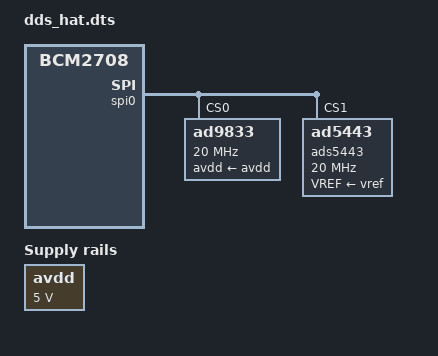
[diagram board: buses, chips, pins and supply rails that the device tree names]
/dts-v1/;
/plugin/;

/ {
	compatible = "brcm,bcm2708";

	fragment@0 {
        target = <&spidev0>;

        __overlay__ {
            status = "disabled";
        };
    };

	fragment@1 {
        target = <&spidev1>;

        __overlay__ {
            status = "disabled";
        };
    };

    fragment@2 {
	target = <&gpio>;
    	__overlay__ {
        	clock_pin: clock_pin {
            	brcm,pins = <4>;     /* GPIO4 */
                brcm,function = <4>; /* clock */
                brcm,pull = <1>;
            };
        };
    };

	fragment@3 {
        target = <&soc>;
        __overlay__ {
			avdd: fixedregulator@0 {
				compatible = "regulator-fixed";
				regulator-name = "fixed-supply";
				regulator-min-microvolt = <5000000>;
				regulator-max-microvolt = <5000000>;
				regulator-always-on;
			};
		};
	};

	fragment@4 {
        target = <&soc>;
        __overlay__ {
			vref: fixedregulator@0 {
				compatible = "regulator-fixed";
				regulator-name = "fixed-supply";
				regulator-min-microvolt = <5000000>;
				regulator-max-microvolt = <5000000>;
				regulator-always-on;
			};
		};
	};

	// DDS
	fragment@5 {
		target = <&spi0>;
		__overlay__ {
			#address-cells = <1>;
			#size-cells = <0>;
			status = "okay";

		ad9833@0 {
			compatible = "ad9833";
			reg = <0>;
			#io-channel-cells = <1>;
			avdd-supply = <&avdd>; 
			spi-max-frequency = <20000000>;
			spi-cpol;
            pinctrl-names = "default";
            pinctrl-0 = <&clock_pin>;

            clock-names = "mclk";

            clocks = <&clocks 38>; /* BCM2835_CLOCK_GP0 */
            assigned-clocks = <&clocks 38>;

            assigned-clock-rates = <20000000>;
			};
		};
	};

	// DAC
	fragment@6 {
		target = <&spi0>;
		__overlay__ {
			#address-cells = <1>;
			#size-cells = <0>;
			status = "okay";

		ads5443@1 {
			compatible = "ad5443";
			reg = <1>;
			#io-channel-cells = <1>;
			VREF-supply = <&vref>; 
			spi-max-frequency = <20000000>;
			spi-cpol;
			};
		};
	};
};

